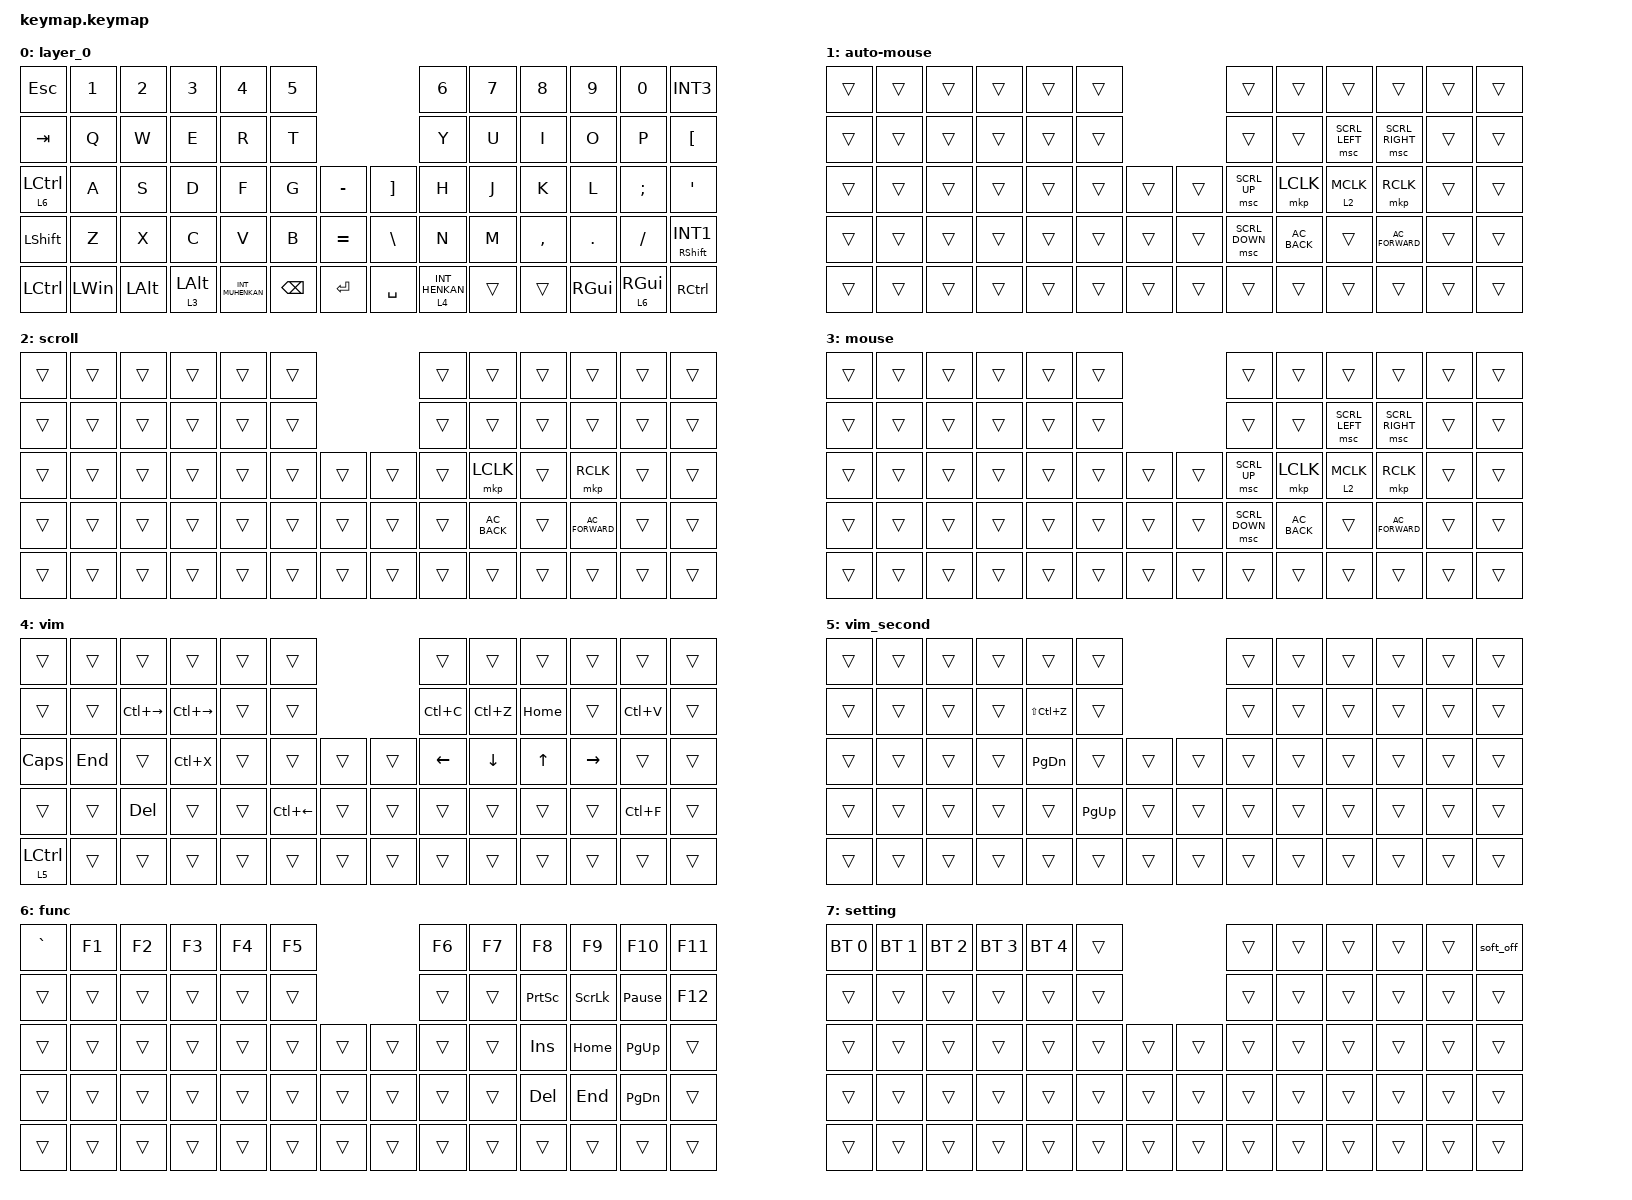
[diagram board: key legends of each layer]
#include <input/processors.dtsi>
#include <dt-bindings/zmk/input_transform.h>
#include <behaviors.dtsi>
#include <dt-bindings/zmk/bt.h>
#include <dt-bindings/zmk/keys.h>
#include <dt-bindings/zmk/pointing.h>

/* JIS Aliases */

#define JA_MINS MINUS      // -
#define JA_EQL  LS(MINUS)  // =
#define JA_HAT  EQUAL      // ^
#define JA_TILD LS(EQUAL)  // ~
#define JA_AT   LBKT       // @
#define JA_LBKT RBKT       // [
#define JA_RBKT BSLH       // ]
#define JA_LBRC LS(RBKT)   // {
#define JA_RBRC LS(BSLH)   // }
#define JA_SCLN SEMI       // ;
#define JA_PLUS LS(SEMI)   // +
#define JA_COLN SQT        // :
#define JA_ASTR LS(SQT)    // *
#define JA_YEN    INT3       // ¥
#define JA_PIPE   LS(INT3)   // |
#define JA_BSLASH INT1       // \
#define JA_UNDS   LS(INT1)   // _
#define JA_ZKHK   GRAVE      // 半角/全角

/ {
    behaviors {
        scroll_middle: scroll_middle {
            compatible = "zmk,behavior-hold-tap";
            #binding-cells = <2>;
            flavor = "tap-preferred";
            tapping-term-ms = <200>;
            bindings = <&mo>, <&mkp>;
        };
    };

    zip_temp_layer: zip_temp_layer {
        compatible = "zmk,input-processor-temp-layer";
        #input-processor-cells = <2>;
        require-prior-idle-ms = <100>;
    };

    zip_xy_to_scroll_mapper: zip_xy_to_scroll_mapper {
        compatible = "zmk,input-processor-code-mapper";
        #input-processor-cells = <0>;
        map = <0 8>, <1 6>;
    };

    zip_scroll_scaler: zip_scroll_scaler {
        compatible = "zmk,input-processor-scaler";
        #input-processor-cells = <2>;
        codes = <6 8>;
    };

    combos {
        compatible = "zmk,combos";

        bt_clear {
            bindings = <&bt BT_CLR>;
            key-positions = <28 29>;
            layers = <7>;
        };

        setting_mode {
            bindings = <&mo 7>;
            key-positions = <64 65 63>;
        };
    };

    pointing_listener: pointing_listener {
        input-processors =
            <&zip_xy_transform (INPUT_TRANSFORM_X_INVERT | INPUT_TRANSFORM_Y_INVERT)>,
            <&zip_temp_layer 1 500>;

        scroll {
            layers = <2>;
            input-processors =
                <&zip_xy_transform (INPUT_TRANSFORM_X_INVERT | INPUT_TRANSFORM_Y_INVERT)>,
                <&zip_temp_layer 1 500>,
                <&zip_xy_to_scroll_mapper>,
                <&zip_scroll_scaler 1 8>;
        };
    };

    pointing_device_split_listener: pointing_device_split_listener {
        input-processors =
            <&zip_xy_transform (INPUT_TRANSFORM_X_INVERT | INPUT_TRANSFORM_Y_INVERT)>,
            <&zip_temp_layer 1 500>;

        scroll {
            layers = <2>;
            input-processors =
                <&zip_xy_transform (INPUT_TRANSFORM_X_INVERT | INPUT_TRANSFORM_Y_INVERT)>,
                <&zip_temp_layer 1 500>,
                <&zip_xy_to_scroll_mapper>,
                <&zip_scroll_scaler 1 8>;
        };
    };

    keymap {
        compatible = "zmk,keymap";

        layer_0 {
            bindings = <
&kp ESC      &kp N1        &kp N2    &kp N3          &kp N4            &kp N5                                   &kp N6            &kp N7  &kp N8     &kp N9    &kp N0           &kp JA_YEN
&kp TAB      &kp Q         &kp W     &kp E           &kp R             &kp T                                    &kp Y             &kp U   &kp I      &kp O     &kp P            &kp JA_AT
&lt 6 LCTRL  &kp A         &kp S     &kp D           &kp F             &kp G          &kp JA_MINS  &kp JA_LBKT  &kp H             &kp J   &kp K      &kp L     &kp JA_SCLN      &kp JA_COLN
&kp LSHFT    &kp Z         &kp X     &kp C           &kp V             &kp B          &kp JA_HAT   &kp JA_RBKT  &kp N             &kp M   &kp COMMA  &kp DOT   &kp SLASH        &mt RSHFT JA_BSLASH
&kp LCTRL    &kp LEFT_WIN  &kp LALT  &lt 3 LEFT_ALT  &kp INT_MUHENKAN  &kp BACKSPACE  &kp ENTER    &kp SPACE    &lt 4 INT_HENKAN  &trans  &trans     &kp RGUI  &lt 6 RIGHT_GUI  &kp RCTRL
            >;
        };

        auto-mouse {
            bindings = <
&trans  &trans  &trans  &trans  &trans  &trans                  &trans          &trans         &trans                 &trans            &trans  &trans
&trans  &trans  &trans  &trans  &trans  &trans                  &trans          &trans         &msc SCRL_LEFT         &msc SCRL_RIGHT   &trans  &trans
&trans  &trans  &trans  &trans  &trans  &trans  &trans  &trans  &msc SCRL_UP    &mkp LCLK      &scroll_middle 2 MCLK  &mkp RCLK         &trans  &trans
&trans  &trans  &trans  &trans  &trans  &trans  &trans  &trans  &msc SCRL_DOWN  &kp C_AC_BACK  &trans                 &kp C_AC_FORWARD  &trans  &trans
&trans  &trans  &trans  &trans  &trans  &trans  &trans  &trans  &trans          &trans         &trans                 &trans            &trans  &trans
            >;
        };

        scroll {
            bindings = <
&trans  &trans  &trans  &trans  &trans  &trans                  &trans  &trans         &trans  &trans            &trans  &trans
&trans  &trans  &trans  &trans  &trans  &trans                  &trans  &trans         &trans  &trans            &trans  &trans
&trans  &trans  &trans  &trans  &trans  &trans  &trans  &trans  &trans  &mkp LCLK      &trans  &mkp RCLK         &trans  &trans
&trans  &trans  &trans  &trans  &trans  &trans  &trans  &trans  &trans  &kp C_AC_BACK  &trans  &kp C_AC_FORWARD  &trans  &trans
&trans  &trans  &trans  &trans  &trans  &trans  &trans  &trans  &trans  &trans         &trans  &trans            &trans  &trans
            >;
        };

        mouse {
            bindings = <
&trans  &trans  &trans  &trans  &trans  &trans                  &trans          &trans         &trans                 &trans            &trans  &trans
&trans  &trans  &trans  &trans  &trans  &trans                  &trans          &trans         &msc SCRL_LEFT         &msc SCRL_RIGHT   &trans  &trans
&trans  &trans  &trans  &trans  &trans  &trans  &trans  &trans  &msc SCRL_UP    &mkp LCLK      &scroll_middle 2 MCLK  &mkp RCLK         &trans  &trans
&trans  &trans  &trans  &trans  &trans  &trans  &trans  &trans  &msc SCRL_DOWN  &kp C_AC_BACK  &trans                 &kp C_AC_FORWARD  &trans  &trans
&trans  &trans  &trans  &trans  &trans  &trans  &trans  &trans  &trans          &trans         &trans                 &trans            &trans  &trans
            >;
        };

        vim {
            bindings = <
&trans        &trans   &trans         &trans         &trans  &trans                        &trans     &trans     &trans        &trans     &trans     &trans
&trans        &trans   &kp LC(RIGHT)  &kp LC(RIGHT)  &trans  &trans                        &kp LC(C)  &kp LC(Z)  &kp HOME      &trans     &kp LC(V)  &trans
&kp CAPSLOCK  &kp END  &trans         &kp LC(X)      &trans  &trans        &trans  &trans  &kp LEFT   &kp DOWN   &kp UP_ARROW  &kp RIGHT  &trans     &trans
&trans        &trans   &kp DEL        &trans         &trans  &kp LC(LEFT)  &trans  &trans  &trans     &trans     &trans        &trans     &kp LC(F)  &trans
&lt 5 LCTRL   &trans   &trans         &trans         &trans  &trans        &trans  &trans  &trans     &trans     &trans        &trans     &trans     &trans
            >;
        };

        vim_second {
            bindings = <
&trans  &trans  &trans  &trans  &trans         &trans                       &trans  &trans  &trans  &trans  &trans  &trans
&trans  &trans  &trans  &trans  &kp LS(LC(Z))  &trans                       &trans  &trans  &trans  &trans  &trans  &trans
&trans  &trans  &trans  &trans  &kp PAGE_DOWN  &trans       &trans  &trans  &trans  &trans  &trans  &trans  &trans  &trans
&trans  &trans  &trans  &trans  &trans         &kp PAGE_UP  &trans  &trans  &trans  &trans  &trans  &trans  &trans  &trans
&trans  &trans  &trans  &trans  &trans         &trans       &trans  &trans  &trans  &trans  &trans  &trans  &trans  &trans
            >;
        };

        func {
            bindings = <
&kp JA_ZKHK  &kp F1  &kp F2  &kp F3  &kp F4  &kp F5                  &kp F6  &kp F7  &kp F8           &kp F9          &kp F10          &kp F11
&trans       &trans  &trans  &trans  &trans  &trans                  &trans  &trans  &kp PRINTSCREEN  &kp SCROLLLOCK  &kp PAUSE_BREAK  &kp F12
&trans       &trans  &trans  &trans  &trans  &trans  &trans  &trans  &trans  &trans  &kp INS          &kp HOME        &kp PAGE_UP      &trans
&trans       &trans  &trans  &trans  &trans  &trans  &trans  &trans  &trans  &trans  &kp DELETE       &kp END         &kp PAGE_DOWN    &trans
&trans       &trans  &trans  &trans  &trans  &trans  &trans  &trans  &trans  &trans  &trans           &trans          &trans           &trans
            >;
        };

        setting {
            bindings = <
&bt BT_SEL 0  &bt BT_SEL 1  &bt BT_SEL 2  &bt BT_SEL 3  &bt BT_SEL 4  &trans                  &trans  &trans  &trans  &trans  &trans  &soft_off
&trans        &trans        &trans        &trans        &trans        &trans                  &trans  &trans  &trans  &trans  &trans  &trans
&trans        &trans        &trans        &trans        &trans        &trans  &trans  &trans  &trans  &trans  &trans  &trans  &trans  &trans
&trans        &trans        &trans        &trans        &trans        &trans  &trans  &trans  &trans  &trans  &trans  &trans  &trans  &trans
&trans        &trans        &trans        &trans        &trans        &trans  &trans  &trans  &trans  &trans  &trans  &trans  &trans  &trans
            >;
        };
    };
};

&mkp_input_listener { input-processors = <&zip_temp_layer 1 500>; };

&mmv_input_listener { input-processors = <&zip_temp_layer 1 500>; };

&msc_input_listener { input-processors = <&zip_temp_layer 1 500>; };
